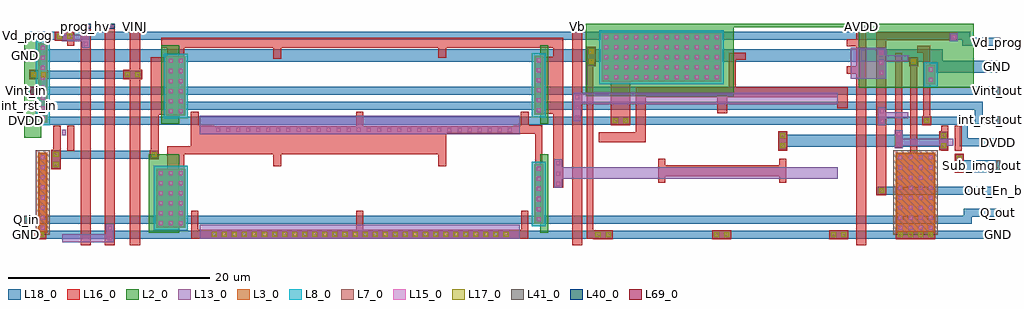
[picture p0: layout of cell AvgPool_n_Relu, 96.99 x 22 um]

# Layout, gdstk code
from math import pi, radians
import gdstk
lib = gdstk.Library(unit=1e-6, precision=1e-09)
def R(c, l, rs):  # rectangles x0, y0, x1, y1
    for r in rs: c.add(gdstk.rectangle(r[:2], r[2:], *l))
def A(c, l, x, y, w, h, nx, ny, dx, dy):  # array of equal rectangles
    R(c, l, [(x+i*dx, y+j*dy, x+i*dx+w, y+j*dy+h) for i in range(nx) for j in range(ny)])
L2_0 = (2, 0)
L3_0 = (3, 0)
L7_0 = (7, 0)
L8_0 = (8, 0)
L13_0 = (13, 0)
L15_0 = (15, 0)
L16_0 = (16, 0)
L17_0 = (17, 0)
L18_0 = (18, 0)
L40_0 = (40, 0)
L41_0 = (41, 0)
L69_0 = (69, 0)

m2_m1_cdns_761869559140 = lib.new_cell('M2_M1_CDNS_761869559140')
R(m2_m1_cdns_761869559140, L16_0, [(-0.45,-0.45,0.45,0.45)])
R(m2_m1_cdns_761869559140, L17_0, [(-0.25,-0.25,0.25,0.25)])
R(m2_m1_cdns_761869559140, L18_0, [(-0.4,-0.4,0.4,0.4)])

m1_poly1_cdns_7618695591 = lib.new_cell('M1_POLY1_CDNS_761869559141')
R(m1_poly1_cdns_7618695591, L13_0, [(-0.4,-0.4,0.4,0.4)])
R(m1_poly1_cdns_7618695591, L15_0, [(-0.2,-0.2,0.2,0.2)])
R(m1_poly1_cdns_7618695591, L16_0, [(-0.35,-0.35,0.35,0.35)])

m1_pactive_cdns_76186955 = lib.new_cell('M1_PACTIVE_CDNS_761869559142')
R(m1_pactive_cdns_76186955, L3_0, [(-0.45,-3.95,0.45,3.95)])
R(m1_pactive_cdns_76186955, L7_0, [(-0.7,-4.2,0.7,4.2)])
A(m1_pactive_cdns_76186955, L15_0, -0.2, -3.7, 0.4, 0.4, 1, 8, 0, 1)
R(m1_pactive_cdns_76186955, L16_0, [(-0.35,-3.85,0.35,3.85)])

m2_m1_cdns_761869559143 = lib.new_cell('M2_M1_CDNS_761869559143')
R(m2_m1_cdns_761869559143, L16_0, [(-0.45,-0.95,0.45,0.95)])
R(m2_m1_cdns_761869559143, L17_0, [(-0.25,-0.75,0.25,-0.25), (-0.25,0.25,0.25,0.75)])
R(m2_m1_cdns_761869559143, L18_0, [(-0.4,-0.9,0.4,0.9)])

c_m1_poly1_cdns_7618695591 = lib.new_cell('M1_POLY1_CDNS_761869559144')
R(c_m1_poly1_cdns_7618695591, L13_0, [(-14.9,-0.4,14.9,0.4)])
A(c_m1_poly1_cdns_7618695591, L15_0, -14.7, -0.2, 0.4, 0.4, 30, 1, 1, 0)
R(c_m1_poly1_cdns_7618695591, L16_0, [(-14.85,-0.35,14.85,0.35)])

m1_nactive_cdns_76186955 = lib.new_cell('M1_NACTIVE_CDNS_761869559145')
R(m1_nactive_cdns_76186955, L3_0, [(-0.95,-2.95,0.95,2.95)])
R(m1_nactive_cdns_76186955, L8_0, [(-1.2,-3.2,1.2,3.2)])
A(m1_nactive_cdns_76186955, L15_0, -0.7, -2.7, 0.4, 0.4, 1, 6, 0, 1)
A(m1_nactive_cdns_76186955, L15_0, 0.3, -2.7, 0.4, 0.4, 1, 6, 0, 1)
R(m1_nactive_cdns_76186955, L16_0, [(-0.85,-2.85,0.85,2.85)])

m2_m1_cdns_761869559146 = lib.new_cell('M2_M1_CDNS_761869559146')
R(m2_m1_cdns_761869559146, L16_0, [(-14.95,-0.45,14.95,0.45)])
A(m2_m1_cdns_761869559146, L17_0, -14.75, -0.25, 0.5, 0.5, 30, 1, 1, 0)
R(m2_m1_cdns_761869559146, L18_0, [(-14.9,-0.4,14.9,0.4)])

c_m1_poly1_cdns_7618695591_ = lib.new_cell('M1_POLY1_CDNS_761869559147')
R(c_m1_poly1_cdns_7618695591_, L13_0, [(-14.9,-0.4,14.9,0.4)])
A(c_m1_poly1_cdns_7618695591_, L15_0, -14.7, -0.2, 0.4, 0.4, 30, 1, 1, 0)
R(c_m1_poly1_cdns_7618695591_, L16_0, [(-14.95,-0.45,14.95,0.45)])

c_m1_poly1_cdns_7618695591__ = lib.new_cell('M1_POLY1_CDNS_761869559148')
R(c_m1_poly1_cdns_7618695591__, L13_0, [(-0.4,-1.4,0.4,1.4)])
A(c_m1_poly1_cdns_7618695591__, L15_0, -0.2, -1.2, 0.4, 0.4, 1, 3, 0, 1)
R(c_m1_poly1_cdns_7618695591__, L16_0, [(-0.35,-1.35,0.35,1.35)])

m2_m1_cdns_761869559149 = lib.new_cell('M2_M1_CDNS_761869559149')
R(m2_m1_cdns_761869559149, L16_0, [(-0.95,-0.45,0.95,0.45)])
R(m2_m1_cdns_761869559149, L17_0, [(-0.75,-0.25,-0.25,0.25), (0.25,-0.25,0.75,0.25)])
R(m2_m1_cdns_761869559149, L18_0, [(-0.9,-0.4,0.9,0.4)])

c_m1_poly1_cdns_7618695591___ = lib.new_cell('M1_POLY1_CDNS_7618695591410')
R(c_m1_poly1_cdns_7618695591___, L13_0, [(-0.4,-0.9,0.4,0.9)])
R(c_m1_poly1_cdns_7618695591___, L15_0, [(-0.2,-0.7,0.2,-0.3), (-0.2,0.3,0.2,0.7)])
R(c_m1_poly1_cdns_7618695591___, L16_0, [(-0.35,-0.85,0.35,0.85)])

c_m1_pactive_cdns_76186955 = lib.new_cell('M1_PACTIVE_CDNS_7618695591411')
R(c_m1_pactive_cdns_76186955, L3_0, [(-1.95,-3.95,1.95,3.95)])
R(c_m1_pactive_cdns_76186955, L7_0, [(-2.2,-4.2,2.2,4.2)])
A(c_m1_pactive_cdns_76186955, L15_0, -1.7, -3.7, 0.4, 0.4, 4, 8, 1, 1)
R(c_m1_pactive_cdns_76186955, L16_0, [(-1.85,-3.85,1.85,3.85)])

c_m1_nactive_cdns_76186955 = lib.new_cell('M1_NACTIVE_CDNS_7618695591412')
R(c_m1_nactive_cdns_76186955, L3_0, [(-0.45,-3.95,0.45,3.95)])
R(c_m1_nactive_cdns_76186955, L8_0, [(-0.7,-4.2,0.7,4.2)])
A(c_m1_nactive_cdns_76186955, L15_0, -0.2, -3.7, 0.4, 0.4, 1, 8, 0, 1)
R(c_m1_nactive_cdns_76186955, L16_0, [(-0.35,-3.85,0.35,3.85)])

c_m1_nactive_cdns_76186955_ = lib.new_cell('M1_NACTIVE_CDNS_7618695591413')
R(c_m1_nactive_cdns_76186955_, L3_0, [(-5.95,-2.45,5.95,2.45)])
R(c_m1_nactive_cdns_76186955_, L8_0, [(-6.2,-2.7,6.2,2.7)])
A(c_m1_nactive_cdns_76186955_, L15_0, -5.7, -2.2, 0.4, 0.4, 12, 5, 1, 1)
R(c_m1_nactive_cdns_76186955_, L16_0, [(-5.85,-2.35,5.85,2.35)])

c_m1_nactive_cdns_76186955__ = lib.new_cell('M1_NACTIVE_CDNS_7618695591414')
R(c_m1_nactive_cdns_76186955__, L3_0, [(-0.45,-2.95,0.45,2.95)])
R(c_m1_nactive_cdns_76186955__, L8_0, [(-0.7,-3.2,0.7,3.2)])
A(c_m1_nactive_cdns_76186955__, L15_0, -0.2, -2.7, 0.4, 0.4, 1, 6, 0, 1)
R(c_m1_nactive_cdns_76186955__, L16_0, [(-0.35,-2.85,0.35,2.85)])

m2_m1_cdns_7618695591415 = lib.new_cell('M2_M1_CDNS_7618695591415')
R(m2_m1_cdns_7618695591415, L16_0, [(-1.95,-0.45,1.95,0.45)])
A(m2_m1_cdns_7618695591415, L17_0, -1.75, -0.25, 0.5, 0.5, 4, 1, 1, 0)
R(m2_m1_cdns_7618695591415, L18_0, [(-1.9,-0.4,1.9,0.4)])

c_m1_nactive_cdns_76186955___ = lib.new_cell('M1_NACTIVE_CDNS_7618695591416')
R(c_m1_nactive_cdns_76186955___, L3_0, [(-1.45,-2.95,1.45,2.95)])
R(c_m1_nactive_cdns_76186955___, L8_0, [(-1.7,-3.2,1.7,3.2)])
A(c_m1_nactive_cdns_76186955___, L15_0, -1.2, -2.7, 0.4, 0.4, 3, 6, 1, 1)
R(c_m1_nactive_cdns_76186955___, L16_0, [(-1.35,-2.85,1.35,2.85)])

c_m1_nactive_cdns_76186955____ = lib.new_cell('M1_NACTIVE_CDNS_7618695591417')
R(c_m1_nactive_cdns_76186955____, L3_0, [(-0.45,-0.95,0.45,0.95)])
R(c_m1_nactive_cdns_76186955____, L8_0, [(-0.7,-1.2,0.7,1.2)])
R(c_m1_nactive_cdns_76186955____, L15_0, [(-0.2,-0.7,0.2,-0.3), (-0.2,0.3,0.2,0.7)])
R(c_m1_nactive_cdns_76186955____, L16_0, [(-0.35,-0.85,0.35,0.85)])

c_m1_poly1_cdns_7618695591____ = lib.new_cell('M1_POLY1_CDNS_7618695591418')
R(c_m1_poly1_cdns_7618695591____, L13_0, [(-0.9,-0.4,0.9,0.4)])
R(c_m1_poly1_cdns_7618695591____, L15_0, [(-0.7,-0.2,-0.3,0.2), (0.3,-0.2,0.7,0.2)])
R(c_m1_poly1_cdns_7618695591____, L16_0, [(-0.85,-0.35,0.85,0.35)])

avgpool_n_relu = lib.new_cell('AvgPool_n_Relu')
R(avgpool_n_relu, L2_0, [(12.42,1.25,15.42,9.05), (51.32,1.25,52.09,9.05), (0,10.67,1.73,21.07), (13.62,12.05,15.42,19.85), (51.32,12.05,52.09,19.85), (55.84,14.8,70.54,21.66), (82.94,15.63,94.4,22), (55.84,21.66,82.94,22)])
R(avgpool_n_relu, L13_0, [(3.78,0.31,8.92,1.07), (17.47,0.64,49.27,2.05), (53.2,6.6,80.88,7.75), (86.6,9.87,92.35,10.6), (3.78,10.91,4.13,11.47), (17.47,11.04,49.27,12.85), (85.61,12.63,87.85,13.2), (54.61,14,80.88,15.15), (82.14,16.56,85.69,19.61), (85.69,18.29,87.85,18.86), (3.78,20.27,6.02,20.92)])
R(avgpool_n_relu, L16_0, [(16.65,0.64,18.45,1.54), (48.35,0.64,50.12,1.54), (55.94,0.64,56.59,19.16), (63.38,6.85,75.35,7.95), (14.22,7.32,15.92,9.21), (50.82,7.88,51.52,11.53), (16.57,9.83,41.97,11.12), (50.17,11.07,51.52,11.92), (58.33,12.8,60.23,16.36), (12.6,12.97,14.22,18.66), (51.52,13.04,52.59,18.74), (14.22,18.66,15.92,19.73)])
R(avgpool_n_relu, L40_0, [(5.63,21.53,6.63,22), (8.03,21.53,9.03,22), (10.53,21.53,11.53,22), (54.49,21.53,55.49,22), (82.71,21.53,83.71,22)])
A(avgpool_n_relu, L41_0, 96.62, 0.63, 0.37, 0.8, 1, 3, 0, 2.2)
A(avgpool_n_relu, L41_0, 0, 11.95, 0.37, 0.8, 1, 3, 0, 1.5)
R(avgpool_n_relu, L41_0, [(0,0.63,0.37,1.43), (0,2.15,0.37,2.95), (96.62,7.23,96.99,8.43), (96.62,9.83,96.99,10.63), (96.62,12.03,96.99,12.83), (96.62,14.95,96.99,15.75), (96.62,17.15,96.99,18.35), (0,18.25,0.37,19.45), (96.62,19.8,96.99,20.6), (0,20.43,0.37,21.23)])
R(avgpool_n_relu, L69_0, [(0.56,2.15,1.11,2.95), (0.6,13.45,1.15,14.25), (0.6,14.95,1.15,15.75)])
avgpool_n_relu.add(gdstk.FlexPath([(88.4,8.96),(88.4,18.23)], 0.7, ends="flush", simple_path=True, layer=16, datatype=0))  # L16_0
avgpool_n_relu.add(gdstk.FlexPath([(89.71,19.49),(89.71,12.39)], 0.7, ends=(0.35, 0), simple_path=True, layer=16, datatype=0))  # L16_0
avgpool_n_relu.add(gdstk.FlexPath([(86.95,19.14),(86.95,10.22)], 0.7, ends=(0, 0.35), simple_path=True, layer=16, datatype=0))  # L16_0
avgpool_n_relu.add(gdstk.FlexPath([(92.85,11.87),(92.85,9.37)], 0.7, ends="flush", simple_path=True, layer=16, datatype=0))  # L16_0
avgpool_n_relu.add(gdstk.FlexPath([(88.75,19.49),(89.71,19.49)], 0.7, ends=(0, 0.35), simple_path=True, layer=16, datatype=0))  # L16_0
avgpool_n_relu.add(gdstk.FlexPath([(91.5,11.87),(91.5,9.37)], 0.7, ends="flush", simple_path=True, layer=16, datatype=0))  # L16_0
avgpool_n_relu.add(gdstk.FlexPath([(92.4,20.77),(85.21,20.77)], 0.8, ends=(0.35, 0.5), simple_path=True, layer=16, datatype=0))  # L16_0
avgpool_n_relu.add(gdstk.FlexPath([(11.03,0),(11.03,22)], 1, ends="flush", simple_path=True, layer=16, datatype=0))  # L16_0
avgpool_n_relu.add(gdstk.FlexPath([(61.3,11.08),(61.3,15.21)], 1, ends=(0, 0.5), simple_path=True, layer=16, datatype=0))  # L16_0
avgpool_n_relu.add(gdstk.FlexPath([(57.6,10.73),(61.3,10.73)], 1, ends="extended", simple_path=True, layer=16, datatype=0))  # L16_0
avgpool_n_relu.add(gdstk.FlexPath([(85.21,20.77),(85.21,4.98)], 1, ends=(0.4, 0), simple_path=True, layer=16, datatype=0))  # L16_0
avgpool_n_relu.add(gdstk.FlexPath([(4.63,19.82),(4.63,20.69)], 0.7, ends="flush", simple_path=True, layer=16, datatype=0))  # L16_0
avgpool_n_relu.add(gdstk.FlexPath([(83.06,20.11),(81.74,20.11)], 0.7, ends=(0.35, 0), simple_path=True, layer=16, datatype=0))  # L16_0
avgpool_n_relu.add(gdstk.FlexPath([(83.06,17.41),(81.74,17.41)], 0.7, ends=(0.35, 0), simple_path=True, layer=16, datatype=0))  # L16_0
avgpool_n_relu.add(gdstk.FlexPath([(83.06,20.11),(83.06,17.41)], 0.7, ends="extended", simple_path=True, layer=16, datatype=0))  # L16_0
avgpool_n_relu.add(gdstk.FlexPath([(83.21,22),(83.21,0)], 1, ends="flush", simple_path=True, layer=16, datatype=0))  # L16_0
avgpool_n_relu.add(gdstk.FlexPath([(70.39,18.76),(70.39,15.21)], 0.7, ends=(0.35, 0.5), simple_path=True, layer=16, datatype=0))  # L16_0
avgpool_n_relu.add(gdstk.FlexPath([(71.74,18.76),(70.39,18.76)], 0.7, ends=(0, 0.35), simple_path=True, layer=16, datatype=0))  # L16_0
avgpool_n_relu.add(gdstk.FlexPath([(69.39,13.12),(69.39,15.21)], 1, ends=(0, 0.5), simple_path=True, layer=16, datatype=0))  # L16_0
avgpool_n_relu.add(gdstk.FlexPath([(81.34,15.21),(81.34,13.6)], 1, ends=(0.5, 0), simple_path=True, layer=16, datatype=0))  # L16_0
avgpool_n_relu.add(gdstk.FlexPath([(61.3,15.21),(81.34,15.21)], 1, ends="extended", simple_path=True, layer=16, datatype=0))  # L16_0
avgpool_n_relu.add(gdstk.FlexPath([(54.99,22),(54.99,0)], 1, ends="flush", simple_path=True, layer=16, datatype=0))  # L16_0
avgpool_n_relu.add(gdstk.FlexPath([(63.39,6.2),(63.39,8.6)], 0.7, ends="flush", simple_path=True, layer=16, datatype=0))  # L16_0
avgpool_n_relu.add(gdstk.FlexPath([(75.39,6.2),(75.39,8.6)], 0.7, ends="flush", simple_path=True, layer=16, datatype=0))  # L16_0
avgpool_n_relu.add(gdstk.FlexPath([(49.77,3.41),(49.77,0.64)], 0.7, ends="flush", simple_path=True, layer=16, datatype=0))  # L16_0
avgpool_n_relu.add(gdstk.FlexPath([(33.37,3.41),(33.37,0.64)], 0.7, ends="flush", simple_path=True, layer=16, datatype=0))  # L16_0
avgpool_n_relu.add(gdstk.FlexPath([(16.97,3.41),(16.97,0.64)], 0.7, ends="flush", simple_path=True, layer=16, datatype=0))  # L16_0
avgpool_n_relu.add(gdstk.FlexPath([(53.09,20.13),(53.09,5.72)], 1, ends=(0.5, 0), simple_path=True, layer=16, datatype=0))  # L16_0
avgpool_n_relu.add(gdstk.FlexPath([(13.65,20.13),(53.09,20.13)], 1, ends=(0, 0.5), simple_path=True, layer=16, datatype=0))  # L16_0
avgpool_n_relu.add(gdstk.FlexPath([(41.57,9.43),(14.22,9.43)], 0.8, ends=(0.4, 0), simple_path=True, layer=16, datatype=0))  # L16_0
avgpool_n_relu.add(gdstk.FlexPath([(41.57,9.43),(41.57,7.85)], 0.8, ends=(0.4, 0), simple_path=True, layer=16, datatype=0))  # L16_0
avgpool_n_relu.add(gdstk.FlexPath([(25.17,7.85),(25.17,9.43)], 0.8, ends=(0, 0.4), simple_path=True, layer=16, datatype=0))  # L16_0
avgpool_n_relu.add(gdstk.FlexPath([(13,8.55),(13,18.66)], 0.8, ends="flush", simple_path=True, layer=16, datatype=0))  # L16_0
avgpool_n_relu.add(gdstk.FlexPath([(41.57,20.13),(41.57,18.65)], 0.8, ends=(0.5, 0), simple_path=True, layer=16, datatype=0))  # L16_0
avgpool_n_relu.add(gdstk.FlexPath([(25.17,18.55),(25.17,20.13)], 0.8, ends=(0, 0.5), simple_path=True, layer=16, datatype=0))  # L16_0
avgpool_n_relu.add(gdstk.FlexPath([(33.37,13.25),(33.37,11.47)], 0.7, ends="flush", simple_path=True, layer=16, datatype=0))  # L16_0
avgpool_n_relu.add(gdstk.FlexPath([(16.97,11.47),(18.93,11.47)], 0.8, ends=(0.4, 0), simple_path=True, layer=16, datatype=0))  # L16_0
avgpool_n_relu.add(gdstk.FlexPath([(16.97,13.25),(16.97,11.47)], 0.8, ends=(0, 0.4), simple_path=True, layer=16, datatype=0))  # L16_0
avgpool_n_relu.add(gdstk.FlexPath([(49.77,11.47),(48.63,11.47)], 0.8, ends=(0.4, 0), simple_path=True, layer=16, datatype=0))  # L16_0
avgpool_n_relu.add(gdstk.FlexPath([(49.77,13.25),(49.77,11.47)], 0.8, ends=(0, 0.4), simple_path=True, layer=16, datatype=0))  # L16_0
avgpool_n_relu.add(gdstk.FlexPath([(6.13,0),(6.13,22)], 1, ends="flush", simple_path=True, layer=16, datatype=0))  # L16_0
avgpool_n_relu.add(gdstk.FlexPath([(8.53,0),(8.53,22)], 1, ends="flush", simple_path=True, layer=16, datatype=0))  # L16_0
avgpool_n_relu.add(gdstk.FlexPath([(3.28,11.87),(3.28,9.37)], 0.7, ends="flush", simple_path=True, layer=16, datatype=0))  # L16_0
avgpool_n_relu.add(gdstk.FlexPath([(4.63,11.87),(4.63,9.37)], 0.7, ends="flush", simple_path=True, layer=16, datatype=0))  # L16_0
avgpool_n_relu.add(gdstk.FlexPath([(93.65,20.2),(96.99,20.2)], 0.8, ends=(0.4, 0), simple_path=True, layer=18, datatype=0))  # L18_0
avgpool_n_relu.add(gdstk.FlexPath([(93.65,20.83),(93.65,20.2)], 0.8, ends="extended", simple_path=True, layer=18, datatype=0))  # L18_0
avgpool_n_relu.add(gdstk.FlexPath([(93.65,20.83),(0,20.83)], 0.8, ends=(0.4, 0), simple_path=True, layer=18, datatype=0))  # L18_0
avgpool_n_relu.add(gdstk.FlexPath([(94.89,13.85),(0,13.85)], 0.8, ends=(0.4, 0), simple_path=True, layer=18, datatype=0))  # L18_0
avgpool_n_relu.add(gdstk.FlexPath([(94.89,12.43),(96.99,12.43)], 0.8, ends=(0.4, 0), simple_path=True, layer=18, datatype=0))  # L18_0
avgpool_n_relu.add(gdstk.FlexPath([(75.44,10.36),(91.18,10.36)], 1.2, ends="flush", simple_path=True, layer=18, datatype=0))  # L18_0
avgpool_n_relu.add(gdstk.FlexPath([(94.89,13.85),(94.89,12.43)], 0.8, ends="extended", simple_path=True, layer=18, datatype=0))  # L18_0
avgpool_n_relu.add(gdstk.FlexPath([(90.72,17.75),(96.99,17.75)], 1.2, ends=(0.6, 0), simple_path=True, layer=18, datatype=0))  # L18_0
avgpool_n_relu.add(gdstk.FlexPath([(93.78,3.23),(96.99,3.23)], 0.8, ends=(0.4, 0), simple_path=True, layer=18, datatype=0))  # L18_0
avgpool_n_relu.add(gdstk.FlexPath([(93.78,2.55),(93.78,3.23)], 0.8, ends="extended", simple_path=True, layer=18, datatype=0))  # L18_0
avgpool_n_relu.add(gdstk.FlexPath([(93.37,12.35),(0,12.35)], 0.8, ends=(0.4, 0), simple_path=True, layer=18, datatype=0))  # L18_0
avgpool_n_relu.add(gdstk.FlexPath([(93.37,12.35),(93.37,10.23)], 0.8, ends="extended", simple_path=True, layer=18, datatype=0))  # L18_0
avgpool_n_relu.add(gdstk.FlexPath([(93.78,2.55),(0,2.55)], 0.8, ends=(0.4, 0), simple_path=True, layer=18, datatype=0))  # L18_0
avgpool_n_relu.add(gdstk.FlexPath([(93.37,10.23),(96.99,10.23)], 0.8, ends=(0.4, 0), simple_path=True, layer=18, datatype=0))  # L18_0
avgpool_n_relu.add(gdstk.FlexPath([(93.14,7.83),(96.99,7.83)], 1.2, ends="flush", simple_path=True, layer=18, datatype=0))  # L18_0
avgpool_n_relu.add(gdstk.FlexPath([(3.18,8.99),(12.95,8.99)], 0.8, ends=(0.4, 0), simple_path=True, layer=18, datatype=0))  # L18_0
avgpool_n_relu.add(gdstk.FlexPath([(3.18,8.52),(3.18,8.99)], 0.8, ends=(0, 0.4), simple_path=True, layer=18, datatype=0))  # L18_0
avgpool_n_relu.add(gdstk.FlexPath([(90.72,18.85),(90.72,17.75)], 1.2, ends="extended", simple_path=True, layer=18, datatype=0))  # L18_0
avgpool_n_relu.add(gdstk.FlexPath([(1.47,16.96),(10.94,16.96)], 0.8, ends="flush", simple_path=True, layer=18, datatype=0))  # L18_0
avgpool_n_relu.add(gdstk.FlexPath([(96.99,5.43),(84.82,5.43)], 0.8, ends="flush", simple_path=True, layer=18, datatype=0))  # L18_0
avgpool_n_relu.add(gdstk.FlexPath([(0,1.03),(96.99,1.03)], 0.8, ends="flush", simple_path=True, layer=18, datatype=0))  # L18_0
avgpool_n_relu.add(gdstk.FlexPath([(0,15.35),(96.99,15.35)], 0.8, ends="flush", simple_path=True, layer=18, datatype=0))  # L18_0
avgpool_n_relu.add(gdstk.FlexPath([(0,18.85),(90.72,18.85)], 1.2, ends=(0, 0.6), simple_path=True, layer=18, datatype=0))  # L18_0
avgpool_n_relu.add(gdstk.Reference(m2_m1_cdns_761869559140, (85.22,5.43)))
avgpool_n_relu.add(gdstk.Reference(m2_m1_cdns_761869559140, (89.73,12.35)))
avgpool_n_relu.add(gdstk.Reference(m2_m1_cdns_761869559140, (88.4,18.23)))
avgpool_n_relu.add(gdstk.Reference(m2_m1_cdns_761869559140, (12.95,8.99)))
avgpool_n_relu.add(gdstk.Reference(m1_poly1_cdns_7618695591, (92.4,20.67), x_reflection=True))
avgpool_n_relu.add(gdstk.Reference(m1_pactive_cdns_76186955, (1.88,5.24)))
avgpool_n_relu.add(gdstk.Reference(m2_m1_cdns_761869559143, (92.95,8.13)))
avgpool_n_relu.add(gdstk.Reference(m2_m1_cdns_761869559143, (91.4,10.37)))
avgpool_n_relu.add(gdstk.Reference(m2_m1_cdns_761869559143, (75.42,10.36)))
avgpool_n_relu.add(gdstk.Reference(m2_m1_cdns_761869559143, (56.39,18.75)))
avgpool_n_relu.add(gdstk.Reference(m2_m1_cdns_761869559143, (3.18,8.52)))
avgpool_n_relu.add(gdstk.Reference(c_m1_poly1_cdns_7618695591, (33.78,11.47)))
avgpool_n_relu.add(gdstk.Reference(m1_nactive_cdns_76186955, (15.07,15.81)))
avgpool_n_relu.add(gdstk.Reference(m2_m1_cdns_761869559146, (33.4,1.09)))
avgpool_n_relu.add(gdstk.Reference(c_m1_poly1_cdns_7618695591_, (33.4,1.09)))
avgpool_n_relu.add(gdstk.Reference(c_m1_poly1_cdns_7618695591__, (85.21,18.13)))
avgpool_n_relu.add(gdstk.Reference(c_m1_poly1_cdns_7618695591__, (53.1,7.12)))
avgpool_n_relu.add(gdstk.Reference(c_m1_poly1_cdns_7618695591__, (55,13.7)))
avgpool_n_relu.add(gdstk.Reference(m2_m1_cdns_761869559149, (59.28,12.36)))
avgpool_n_relu.add(gdstk.Reference(m2_m1_cdns_761869559149, (1.28,1.04)))
avgpool_n_relu.add(gdstk.Reference(m2_m1_cdns_761869559149, (1.47,16.96)))
avgpool_n_relu.add(gdstk.Reference(m2_m1_cdns_761869559149, (80.95,1.03)))
avgpool_n_relu.add(gdstk.Reference(m2_m1_cdns_761869559149, (69.35,1.03)))
avgpool_n_relu.add(gdstk.Reference(m2_m1_cdns_761869559149, (57.54,1.04)))
avgpool_n_relu.add(gdstk.Reference(m2_m1_cdns_761869559149, (4.03,20.77)))
avgpool_n_relu.add(gdstk.Reference(m2_m1_cdns_761869559149, (10.82,16.96)))
avgpool_n_relu.add(gdstk.Reference(c_m1_poly1_cdns_7618695591___, (86.95,10.53)))
avgpool_n_relu.add(gdstk.Reference(c_m1_poly1_cdns_7618695591___, (85.23,12.83)))
avgpool_n_relu.add(gdstk.Reference(c_m1_poly1_cdns_7618695591___, (8.53,1.21)))
avgpool_n_relu.add(gdstk.Reference(c_m1_pactive_cdns_76186955, (88.6,5.22)))
avgpool_n_relu.add(gdstk.Reference(c_m1_nactive_cdns_76186955, (1.88,16.13)))
avgpool_n_relu.add(gdstk.Reference(c_m1_nactive_cdns_76186955_, (63.35,18.67)))
avgpool_n_relu.add(gdstk.Reference(c_m1_nactive_cdns_76186955__, (51.17,15.89)))
avgpool_n_relu.add(gdstk.Reference(c_m1_nactive_cdns_76186955__, (51.17,5.09)))
avgpool_n_relu.add(gdstk.Reference(m2_m1_cdns_7618695591415, (88.6,1.04)))
avgpool_n_relu.add(gdstk.Reference(c_m1_nactive_cdns_76186955___, (14.57,4.67)))
avgpool_n_relu.add(gdstk.Reference(c_m1_nactive_cdns_76186955____, (90.1,16.96)))
avgpool_n_relu.add(gdstk.Reference(c_m1_poly1_cdns_7618695591____, (6.13,20.5), rotation=pi/2, x_reflection=True))
avgpool_n_relu.add(gdstk.Label('Sub_img_out', (96.71,7.88), layer=41, texttype=0))
avgpool_n_relu.add(gdstk.Label('Out_En_b', (96.78,5.45), layer=41, texttype=0))
avgpool_n_relu.add(gdstk.Label('Vd_prog', (96.76,20.12), layer=41, texttype=0))
avgpool_n_relu.add(gdstk.Label('int_rst_out', (96.8,12.45), layer=41, texttype=0))
avgpool_n_relu.add(gdstk.Label('Vint_out', (96.83,15.37), layer=41, texttype=0))
avgpool_n_relu.add(gdstk.Label('DVDD', (96.82,10.23), layer=41, texttype=0))
avgpool_n_relu.add(gdstk.Label('Q_out', (96.86,3.25), layer=41, texttype=0))
avgpool_n_relu.add(gdstk.Label('GND', (96.86,1.05), layer=41, texttype=0))
avgpool_n_relu.add(gdstk.Label('Q_in', (0.24,2.57), layer=41, texttype=0))
avgpool_n_relu.add(gdstk.Label('GND', (0.24,1.05), layer=41, texttype=0))
avgpool_n_relu.add(gdstk.Label('DVDD', (0.24,12.37), layer=41, texttype=0))
avgpool_n_relu.add(gdstk.Label('Vint_in', (0.24,15.37), layer=41, texttype=0))
avgpool_n_relu.add(gdstk.Label('int_rst_in', (0.24,13.87), layer=41, texttype=0))
avgpool_n_relu.add(gdstk.Label('Vd_prog', (0.24,20.85), layer=41, texttype=0))
avgpool_n_relu.add(gdstk.Label('GND', (0.16,18.84), layer=41, texttype=0))
avgpool_n_relu.add(gdstk.Label('GND', (96.78,17.72), layer=41, texttype=0))
avgpool_n_relu.add(gdstk.Label('VINJ', (11.05,21.77), layer=40, texttype=0))
avgpool_n_relu.add(gdstk.Label('AVDD', (83.23,21.77), layer=40, texttype=0))
avgpool_n_relu.add(gdstk.Label('Vb', (55.01,21.77), layer=40, texttype=0))
avgpool_n_relu.add(gdstk.Label('run_hv', (8.55,21.77), layer=40, texttype=0))
avgpool_n_relu.add(gdstk.Label('prog_hv', (6.15,21.77), layer=40, texttype=0))

lib.write_gds('AvgPool_n_Relu.gds')
